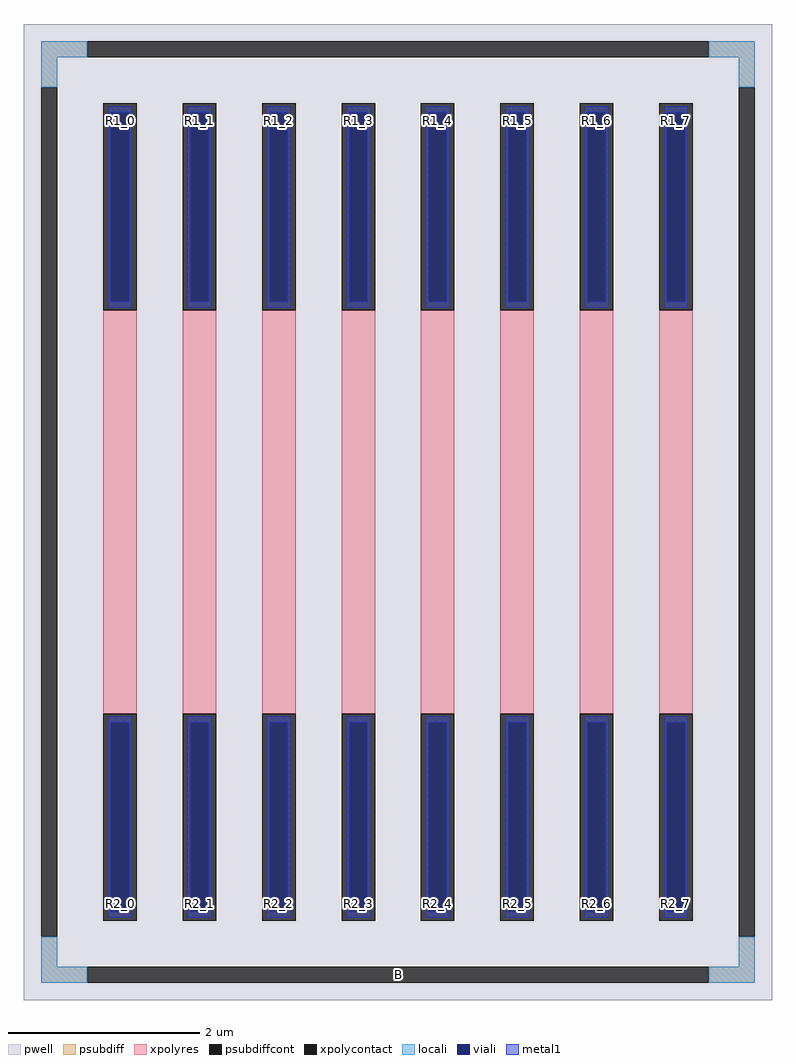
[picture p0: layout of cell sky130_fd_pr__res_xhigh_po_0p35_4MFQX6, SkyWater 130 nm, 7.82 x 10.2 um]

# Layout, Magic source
magic
tech sky130A
magscale 1 2
<< pwell >>
rect -782 -1020 782 1020
<< psubdiff >>
rect -746 950 -650 984
rect 650 950 746 984
rect -746 888 -712 950
rect 712 888 746 950
rect -746 -950 -712 -888
rect 712 -950 746 -888
rect -746 -984 -650 -950
rect 650 -984 746 -950
<< psubdiffcont >>
rect -650 950 650 984
rect -746 -888 -712 888
rect 712 -888 746 888
rect -650 -984 650 -950
<< xpolycontact >>
rect -616 422 -546 854
rect -616 -854 -546 -422
rect -450 422 -380 854
rect -450 -854 -380 -422
rect -284 422 -214 854
rect -284 -854 -214 -422
rect -118 422 -48 854
rect -118 -854 -48 -422
rect 48 422 118 854
rect 48 -854 118 -422
rect 214 422 284 854
rect 214 -854 284 -422
rect 380 422 450 854
rect 380 -854 450 -422
rect 546 422 616 854
rect 546 -854 616 -422
<< xpolyres >>
rect -616 -422 -546 422
rect -450 -422 -380 422
rect -284 -422 -214 422
rect -118 -422 -48 422
rect 48 -422 118 422
rect 214 -422 284 422
rect 380 -422 450 422
rect 546 -422 616 422
<< locali >>
rect -746 950 -650 984
rect 650 950 746 984
rect -746 888 -712 950
rect 712 888 746 950
rect -746 -950 -712 -888
rect 712 -950 746 -888
rect -746 -984 -650 -950
rect 650 -984 746 -950
<< viali >>
rect -600 439 -562 836
rect -434 439 -396 836
rect -268 439 -230 836
rect -102 439 -64 836
rect 64 439 102 836
rect 230 439 268 836
rect 396 439 434 836
rect 562 439 600 836
rect -600 -836 -562 -439
rect -434 -836 -396 -439
rect -268 -836 -230 -439
rect -102 -836 -64 -439
rect 64 -836 102 -439
rect 230 -836 268 -439
rect 396 -836 434 -439
rect 562 -836 600 -439
<< metal1 >>
rect -606 836 -556 848
rect -606 439 -600 836
rect -562 439 -556 836
rect -606 427 -556 439
rect -440 836 -390 848
rect -440 439 -434 836
rect -396 439 -390 836
rect -440 427 -390 439
rect -274 836 -224 848
rect -274 439 -268 836
rect -230 439 -224 836
rect -274 427 -224 439
rect -108 836 -58 848
rect -108 439 -102 836
rect -64 439 -58 836
rect -108 427 -58 439
rect 58 836 108 848
rect 58 439 64 836
rect 102 439 108 836
rect 58 427 108 439
rect 224 836 274 848
rect 224 439 230 836
rect 268 439 274 836
rect 224 427 274 439
rect 390 836 440 848
rect 390 439 396 836
rect 434 439 440 836
rect 390 427 440 439
rect 556 836 606 848
rect 556 439 562 836
rect 600 439 606 836
rect 556 427 606 439
rect -606 -439 -556 -427
rect -606 -836 -600 -439
rect -562 -836 -556 -439
rect -606 -848 -556 -836
rect -440 -439 -390 -427
rect -440 -836 -434 -439
rect -396 -836 -390 -439
rect -440 -848 -390 -836
rect -274 -439 -224 -427
rect -274 -836 -268 -439
rect -230 -836 -224 -439
rect -274 -848 -224 -836
rect -108 -439 -58 -427
rect -108 -836 -102 -439
rect -64 -836 -58 -439
rect -108 -848 -58 -836
rect 58 -439 108 -427
rect 58 -836 64 -439
rect 102 -836 108 -439
rect 58 -848 108 -836
rect 224 -439 274 -427
rect 224 -836 230 -439
rect 268 -836 274 -439
rect 224 -848 274 -836
rect 390 -439 440 -427
rect 390 -836 396 -439
rect 434 -836 440 -439
rect 390 -848 440 -836
rect 556 -439 606 -427
rect 556 -836 562 -439
rect 600 -836 606 -439
rect 556 -848 606 -836
<< labels >>
rlabel psubdiffcont 0 -967 0 -967 0 B
port 18 nsew
rlabel xpolycontact -581 819 -581 819 0 R1_0
port 19 nsew
rlabel xpolycontact -581 -819 -581 -819 0 R2_0
port 20 nsew
rlabel xpolycontact -415 819 -415 819 0 R1_1
port 21 nsew
rlabel xpolycontact -415 -819 -415 -819 0 R2_1
port 22 nsew
rlabel xpolycontact -249 819 -249 819 0 R1_2
port 23 nsew
rlabel xpolycontact -249 -819 -249 -819 0 R2_2
port 24 nsew
rlabel xpolycontact -83 819 -83 819 0 R1_3
port 25 nsew
rlabel xpolycontact -83 -819 -83 -819 0 R2_3
port 26 nsew
rlabel xpolycontact 83 819 83 819 0 R1_4
port 27 nsew
rlabel xpolycontact 83 -819 83 -819 0 R2_4
port 28 nsew
rlabel xpolycontact 249 819 249 819 0 R1_5
port 29 nsew
rlabel xpolycontact 249 -819 249 -819 0 R2_5
port 30 nsew
rlabel xpolycontact 415 819 415 819 0 R1_6
port 31 nsew
rlabel xpolycontact 415 -819 415 -819 0 R2_6
port 32 nsew
rlabel xpolycontact 581 819 581 819 0 R1_7
port 33 nsew
rlabel xpolycontact 581 -819 581 -819 0 R2_7
port 34 nsew
<< properties >>
string FIXED_BBOX -729 -967 729 967
string gencell sky130_fd_pr__res_xhigh_po_0p35
string library sky130
string parameters w 0.35 l 4.375 m 1 nx 8 wmin 0.350 lmin 0.50 class resistor rho 2000 val 26.075k dummy 0 dw 0.0 term 188.2 sterm 0.0 caplen 0 wmax 0.350 guard 1 glc 1 grc 1 gtc 1 gbc 1 compatible {sky130_fd_pr__res_xhigh_po_0p35  sky130_fd_pr__res_xhigh_po_0p69 sky130_fd_pr__res_xhigh_po_1p41  sky130_fd_pr__res_xhigh_po_2p85 sky130_fd_pr__res_xhigh_po_5p73} snake 0 full_metal 1 n_guard 0 hv_guard 0 vias 1 viagb 0 viagt 0 viagl 0 viagr 0 doports 1
<< end >>
